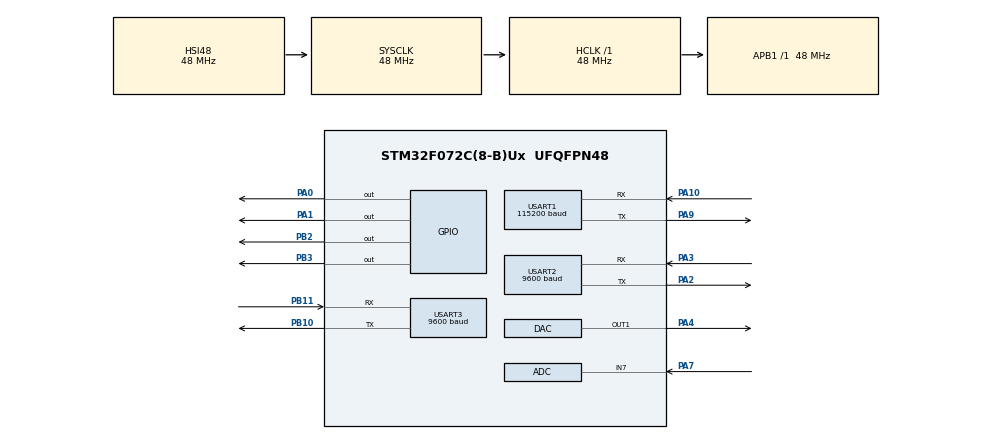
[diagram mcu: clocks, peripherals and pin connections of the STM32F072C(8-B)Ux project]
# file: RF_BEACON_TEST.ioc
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DAC.DAC_Trigger=DAC_TRIGGER_T6_TRGO
Dma.DAC_CH1.0.Direction=DMA_MEMORY_TO_PERIPH
Dma.DAC_CH1.0.Instance=DMA1_Channel3
Dma.DAC_CH1.0.MemDataAlignment=DMA_MDATAALIGN_HALFWORD
Dma.DAC_CH1.0.MemInc=DMA_MINC_ENABLE
Dma.DAC_CH1.0.Mode=DMA_CIRCULAR
Dma.DAC_CH1.0.PeriphDataAlignment=DMA_PDATAALIGN_HALFWORD
Dma.DAC_CH1.0.PeriphInc=DMA_PINC_DISABLE
Dma.DAC_CH1.0.Priority=DMA_PRIORITY_VERY_HIGH
Dma.Request0=DAC_CH1
Mcu.Family=STM32F0
Mcu.Name=STM32F072C(8-B)Ux
Mcu.Package=UFQFPN48
NVIC.DMA1_Channel2_3_IRQn=true\:0\:0\:false\:false\:true\:false\:true\:true
PA0.Signal=GPIO_Output
PA1.Signal=GPIO_Output
PA10.Mode=Asynchronous
PA10.Signal=USART1_RX
PA2.Mode=Asynchronous
PA2.Signal=USART2_TX
PA3.Mode=Asynchronous
PA3.Signal=USART2_RX
PA4.Signal=COMP_DAC1_group
PA7.Mode=IN7
PA7.Signal=ADC_IN7
PA9.Mode=Asynchronous
PA9.Signal=USART1_TX
PB10.Mode=Asynchronous
PB10.Signal=USART3_TX
PB11.Mode=Asynchronous
PB11.Signal=USART3_RX
PB2.GPIO_Speed=GPIO_SPEED_FREQ_HIGH
PB2.PinState=GPIO_PIN_SET
PB2.Signal=GPIO_Output
PB3.GPIO_Speed=GPIO_SPEED_FREQ_HIGH
PB3.PinState=GPIO_PIN_SET
PB3.Signal=GPIO_Output
ProjectManager.HeapSize=0x200
ProjectManager.StackSize=0x400
ProjectManager.TargetToolchain=STM32CubeIDE
RCC.AHBFreq_Value=48000000
RCC.APB1Freq_Value=48000000
RCC.APB1TimFreq_Value=48000000
RCC.HCLKFreq_Value=48000000
RCC.SYSCLKFreq_VALUE=48000000
RCC.SYSCLKSource=RCC_SYSCLKSOURCE_HSI48
SH.COMP_DAC1_group.0=DAC_OUT1,DAC_OUT1
TIM6.Period=99
TIM6.Prescaler=24
TIM6.TIM_MasterOutputTrigger=TIM_TRGO_UPDATE
USART1.BaudRate=115200
USART1.VirtualMode-Asynchronous=VM_ASYNC
USART2.BaudRate=9600
USART2.VirtualMode-Asynchronous=VM_ASYNC
USART3.BaudRate=9600
USART3.VirtualMode-Asynchronous=VM_ASYNC
VP_TIM6_VS_ClockSourceINT.Mode=Enable_Timer
board=custom

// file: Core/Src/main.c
/* USER CODE BEGIN Header */
/**
  ******************************************************************************
  * @file           : main.c
  * @brief          : Main program body
  ******************************************************************************
  * @attention
  *
  * Copyright (c) 2026 STMicroelectronics.
  * All rights reserved.
  *
  * This software is licensed under terms that can be found in the LICENSE file
  * in the root directory of this software component.
  * If no LICENSE file comes with this software, it is provided AS-IS.
  *
  ******************************************************************************
  */
/* USER CODE END Header */
#include "main.h"

/* USER CODE BEGIN Includes */
#include "aprs_bits.h"
#include <gps.h>
#include <string.h>
#include <stdio.h>
/* USER CODE END Includes */

/* USER CODE BEGIN PD */

#define SAMPLE_RATE       19200
#define BAUD              1200
#define SAMPLES_PER_BIT   (SAMPLE_RATE / BAUD)   /* = 16, exact integer */

#define MAX_BITS          1000
#define AUDIO_BUFFER_SIZE 512

#define DAC_MID           2048
#define DAC_AMPLITUDE     1800

/*
 * 32-bit phase accumulator increments.
 * Formula: inc = freq / Fs * 2^32
 *
 * MARK  (1200 Hz): 1200 / 19200 * 2^32 = 268435456
 * SPACE (2200 Hz): 2200 / 19200 * 2^32 = 491520000
 *
 * Verify: 268435456 / 2^32 * 19200 = 1200.000 Hz  ✓
 *         491520000 / 2^32 * 19200 = 2200.000 Hz  ✓
 */
#define PHASE_INC_MARK    268435456UL
#define PHASE_INC_SPACE   491520000UL

/* USER CODE END PD */

ADC_HandleTypeDef hadc;

DAC_HandleTypeDef hdac;
DMA_HandleTypeDef hdma_dac_ch1;

TIM_HandleTypeDef htim6;

UART_HandleTypeDef huart1;
UART_HandleTypeDef huart2;
UART_HandleTypeDef huart3;

/* USER CODE BEGIN PV */

static const uint16_t SINE_LUT[256] = {
    2048, 2092, 2136, 2180, 2224, 2268, 2312, 2356,
    2399, 2442, 2485, 2528, 2571, 2613, 2654, 2696,
    2737, 2777, 2818, 2857, 2897, 2935, 2973, 3011,
    3048, 3084, 3120, 3155, 3190, 3224, 3257, 3289,
    3321, 3352, 3382, 3411, 3439, 3467, 3494, 3520,
    3545, 3569, 3592, 3614, 3635, 3656, 3675, 3694,
    3711, 3727, 3743, 3757, 3770, 3783, 3794, 3804,
    3813, 3821, 3829, 3834, 3839, 3843, 3846, 3847,
    3848, 3847, 3846, 3843, 3839, 3834, 3829, 3821,
    3813, 3804, 3794, 3783, 3770, 3757, 3743, 3727,
    3711, 3694, 3675, 3656, 3635, 3614, 3592, 3569,
    3545, 3520, 3494, 3467, 3439, 3411, 3382, 3352,
    3321, 3289, 3257, 3224, 3190, 3155, 3120, 3084,
    3048, 3011, 2973, 2935, 2897, 2857, 2818, 2777,
    2737, 2696, 2654, 2613, 2571, 2528, 2485, 2442,
    2399, 2356, 2312, 2268, 2224, 2180, 2136, 2092,
    2048, 2004, 1960, 1916, 1872, 1828, 1784, 1740,
    1697, 1654, 1611, 1568, 1525, 1483, 1442, 1400,
    1359, 1319, 1278, 1239, 1199, 1161, 1123, 1085,
    1048, 1012,  976,  941,  906,  872,  839,  807,
     775,  744,  714,  685,  657,  629,  602,  576,
     551,  527,  504,  482,  461,  440,  421,  402,
     385,  369,  353,  339,  326,  313,  302,  292,
     283,  275,  267,  262,  257,  253,  250,  249,
     248,  249,  250,  253,  257,  262,  267,  275,
     283,  292,  302,  313,  326,  339,  353,  369,
     385,  402,  421,  440,  461,  482,  504,  527,
     551,  576,  602,  629,  657,  685,  714,  744,
     775,  807,  839,  872,  906,  941,  976, 1012,
    1048, 1085, 1123, 1161, 1199, 1239, 1278, 1319,
    1359, 1400, 1442, 1483, 1525, 1568, 1611, 1654,
    1697, 1740, 1784, 1828, 1872, 1916, 1960, 2004,
};

uint8_t aprsFreq[] = "AT+DMOSETGROUP=0,144.3900,144.3900,0000,1,0000\r\n";
uint8_t mainFreq[] = "AT+DMOSETGROUP=0,147.4500,147.4500,0000,1,0000\r\n";
uint8_t filterConfig[] = "AT+SETFILTER=0,0,0\r\n";

uint8_t  bitstream[MAX_BITS];
size_t   bit_len = 0;

uint16_t audio_buffer[AUDIO_BUFFER_SIZE];

/* TX state — written in ISR, read in main: must be volatile */
volatile int tx_done   = 0;
volatile int tx_active = 0;

/* USER CODE END PV */

void SystemClock_Config(void);
static void MX_GPIO_Init(void);
static void MX_DMA_Init(void);
static void MX_DAC_Init(void);
static void MX_USART1_UART_Init(void);
static void MX_TIM6_Init(void);
static void MX_ADC_Init(void);
static void MX_USART2_UART_Init(void);
static void MX_USART3_UART_Init(void);

/* USER CODE BEGIN 0 */

void setPowerLow(void)
{
    GPIO_InitTypeDef GPIO_InitStruct = {0};

    GPIO_InitStruct.Pin = GPIO_PIN_1;
    GPIO_InitStruct.Mode = GPIO_MODE_OUTPUT_PP;
    GPIO_InitStruct.Pull = GPIO_NOPULL;
    HAL_GPIO_Init(GPIOA, &GPIO_InitStruct);

    HAL_GPIO_WritePin(GPIOA, GPIO_PIN_1, GPIO_PIN_RESET); // LOW = 0.5W
}

void setPowerHigh(void)
{
    GPIO_InitTypeDef GPIO_InitStruct = {0};

    GPIO_InitStruct.Pin = GPIO_PIN_1;
    GPIO_InitStruct.Mode = GPIO_MODE_INPUT;   // FLOAT
    GPIO_InitStruct.Pull = GPIO_NOPULL;
    HAL_GPIO_Init(GPIOA, &GPIO_InitStruct);
}

void setRadio(UART_HandleTypeDef *huart, uint8_t *cmd)
{
    HAL_UART_Transmit(huart, cmd, strlen((char *)cmd), 1000);
    HAL_Delay(200); // give radio time to switch
}

void gps_to_aprs_position(int32_t lat, int32_t lon, char *out)
{
    char lat_hemi = (lat >= 0) ? 'N' : 'S';
    char lon_hemi = (lon >= 0) ? 'E' : 'W';

    if (lat < 0) lat = -lat;
    if (lon < 0) lon = -lon;

    int32_t lat_deg = lat / 10000000;
    int32_t lon_deg = lon / 10000000;

    int32_t lat_rem = lat % 10000000;
    int32_t lon_rem = lon % 10000000;

    // FIX: use int64_t to prevent overflow
    int32_t lat_min = (int32_t)(((int64_t)lat_rem * 60 * 100) / 10000000);
    int32_t lon_min = (int32_t)(((int64_t)lon_rem * 60 * 100) / 10000000);

    int lat_min_int = lat_min / 100;
    int lat_min_dec = lat_min % 100;

    int lon_min_int = lon_min / 100;
    int lon_min_dec = lon_min % 100;

    sprintf(out,
        "!%02ld%02d.%02d%c/%03ld%02d.%02d%c",
        lat_deg, lat_min_int, lat_min_dec, lat_hemi,
        lon_deg, lon_min_int, lon_min_dec, lon_hemi
    );
    char temp[30];
    char temp2[30];
    char temp3[30];
    strcat(out, "-9 ");
    sprintf(temp, "%ld", gps_height);
    strcat(out, temp);
    strcat(out, ",");
    sprintf(temp2, "%ld", gps_maxAlt);
    strcat(out,temp2);
    strcat(out, ",");
    sprintf(temp3, "%u", numSat);
    strcat(out,temp3);
    strcat(out, ",");
    sprintf(temp3, "%u", mins);
    strcat(out,temp3);

}
/* =========================================================
 * Bit collector — called by aprs_sendPacket()
 * ========================================================= */
void collectBit(uint8_t bit)
{
    if (bit_len < MAX_BITS) {
        bitstream[bit_len++] = bit;
    }
}

/* =========================================================
 * AFSK modem state
 * Uses a 32-bit phase accumulator + 256-entry LUT.
 * No floating point — safe to call from ISR on Cortex-M0.
 * ========================================================= */
typedef struct {
    uint8_t  *bits;
    size_t    bit_len;
    uint32_t  phase;         /* 32-bit accumulator, full 0..2^32 range */
    uint32_t  sample_index;  /* counts samples since TX start */
} afsk_state_t;

static afsk_state_t afsk;

static void afsk_init(uint8_t *bits, size_t len)
{
    afsk.bits         = bits;
    afsk.bit_len      = len;
    afsk.phase        = 0;
    afsk.sample_index = 0;
}

static uint16_t afsk_next_sample(void)
{
    if (tx_done) {
        return DAC_MID;
    }

    /* SAMPLES_PER_BIT = 16 (exact), so integer division is perfect */
    uint32_t bit_index = afsk.sample_index / SAMPLES_PER_BIT;

    if (bit_index >= afsk.bit_len) {
        tx_done = 1;
        return DAC_MID;
    }

    uint32_t phase_inc = afsk.bits[bit_index] ? PHASE_INC_MARK : PHASE_INC_SPACE;

    /* Advance phase — naturally wraps at 2^32, no branch needed */
    afsk.phase += phase_inc;

    /* Top 8 bits index into the 256-entry LUT */
    uint16_t sample = SINE_LUT[afsk.phase >> 24];

    afsk.sample_index++;

    return sample;
}

/* =========================================================
 * Buffer fill — called from DMA callbacks (ISR context)
 * ========================================================= */
static void fill_buffer(uint16_t *buf, size_t len)
{
    if (tx_done) {
        for (size_t i = 0; i < len; i++) {
            buf[i] = DAC_MID;
        }
    } else {
        for (size_t i = 0; i < len; i++) {
            buf[i] = afsk_next_sample();
        }
    }
}

/* =========================================================
 * DMA half-complete: refill first half of buffer
 * ========================================================= */
void HAL_DAC_ConvHalfCpltCallbackCh1(DAC_HandleTypeDef *hdac_cb)
{
    fill_buffer(audio_buffer, AUDIO_BUFFER_SIZE / 2);
}

/* =========================================================
 * DMA complete: refill second half, handle shutdown
 * ========================================================= */
void HAL_DAC_ConvCpltCallbackCh1(DAC_HandleTypeDef *hdac_cb)
{
    /* Always refill second half first so DMA never starves */
    fill_buffer(&audio_buffer[AUDIO_BUFFER_SIZE / 2], AUDIO_BUFFER_SIZE / 2);

    /* Once tx_done and we've drained enough silent buffers, stop */
    if (tx_done && tx_active) {
        static int drain_cycles = 0;
        if (++drain_cycles > 2) {
            HAL_DAC_Stop_DMA(hdac_cb, DAC_CHANNEL_1);
            HAL_TIM_Base_Stop(&htim6);
            tx_active    = 0;
            drain_cycles = 0;
            /* De-assert PTT */
            HAL_GPIO_WritePin(GPIOA, GPIO_PIN_0, GPIO_PIN_RESET);
        }
    }
}

void transmit_packet(void)
{
    afsk_init(bitstream, bit_len);

    tx_done   = 0;
    tx_active = 1;

    HAL_GPIO_WritePin(GPIOA, GPIO_PIN_0, GPIO_PIN_SET);

    fill_buffer(audio_buffer, AUDIO_BUFFER_SIZE);

    HAL_Delay(250);

    HAL_TIM_Base_Start(&htim6);
    HAL_DAC_Start_DMA(
        &hdac,
        DAC_CHANNEL_1,
        (uint32_t *)audio_buffer,
        AUDIO_BUFFER_SIZE,
        DAC_ALIGN_12B_R
    );

    while (tx_active) { }

    HAL_GPIO_WritePin(GPIOA, GPIO_PIN_0, GPIO_PIN_RESET);
}

/* USER CODE END 0 */

int main(void)
{

  /* MCU Configuration--------------------------------------------------------*/

  /* Reset of all peripherals, Initializes the Flash interface and the Systick. */
  HAL_Init();

  /* Configure the system clock */
  SystemClock_Config();

  /* Initialize all configured peripherals */
  MX_GPIO_Init();
  MX_DMA_Init();
  MX_DAC_Init();
  MX_USART1_UART_Init();
  MX_TIM6_Init();
  MX_ADC_Init();
  MX_USART2_UART_Init();
  MX_USART3_UART_Init();
  /* USER CODE BEGIN 2 */
    HAL_UART_Transmit(&huart2, mainFreq, strlen((char *)mainFreq), 1000);
    HAL_Delay(1000);
    HAL_UART_Transmit(&huart2, filterConfig, strlen((char *)filterConfig), 1000);
    HAL_Delay(1000);

    uint32_t lastAprs = 0;
    uint32_t lastSecondary = 0;

    typedef enum {
        FREQ_MAIN,
        FREQ_APRS
    } radio_freq_t;

    radio_freq_t currentFreq = FREQ_MAIN;

    GPS_Begin(&huart3);

  /* USER CODE END 2 */

  /* Infinite loop */
  /* USER CODE BEGIN WHILE */

    while (1)
    {
        uint32_t now = HAL_GetTick();

        // Always keep GPS updated
        GPS_Update(&huart3);

        // =========================
        // === APRS (PRIORITY) ===
        // =========================
        if (now - lastAprs >= 60000)
        {
        	while (tx_active) {
        	    // wait or yield
        	}
            lastAprs = now;

            // --- Build packet (STEP 1 goes HERE) ---
            char msg[30];
            gps_to_aprs_position(gps_lat, gps_lon, msg);

            bit_len = 0;
            aprs_sendPacket(
                "KR4GAM",
                "APRS",
                "WIDE1-1,WIDE2-1",
                msg,
                collectBit
            );

            // --- Switch to APRS freq if needed ---
            if (currentFreq != FREQ_APRS) {
            	setPowerHigh();
                setRadio(&huart2, aprsFreq);
                currentFreq = FREQ_APRS;
                HAL_Delay(300);
            }

            // --- Transmit ---
            transmit_packet();
            while (tx_active) {}

            // NEW — let radio fully settle
            HAL_Delay(150);   // try 150–300 ms
            HAL_GPIO_WritePin(GPIOA, GPIO_PIN_0, GPIO_PIN_RESET);

            HAL_Delay(300);   // let RF chain fully shut down before retuning

            // --- Return to main freq ---
            if (currentFreq != FREQ_MAIN) {
            	setPowerLow();
                setRadio(&huart2, mainFreq);
                currentFreq = FREQ_MAIN;
                HAL_Delay(200);
            }

            continue; // skip secondary this loop
        }

        // =========================
        // === SECONDARY (5 sec) ===
        // =========================
        if (now - lastSecondary >= 5000 && now - lastAprs >= 5000)
        {
            lastSecondary = now;
        	while (tx_active) {
        	    // wait or yield
        	}

            // --- Build SAME packet (STEP 1 here too) ---
            char msg[30];

            gps_to_aprs_position(gps_lat, gps_lon, msg);
            HAL_UART_Transmit(&huart1, (uint8_t*)msg, strlen(msg), HAL_MAX_DELAY);

            bit_len = 0;
            aprs_sendPacket(
                "KR4GAM",
                "APRS",
                "WIDE1-1,WIDE2-1",
                msg,
                collectBit
            );

            // --- Ensure we're on main freq ---
            if (currentFreq != FREQ_MAIN) {
            	setPowerLow();
                setRadio(&huart2, mainFreq);
                currentFreq = FREQ_MAIN;
                HAL_Delay(200);
            }

            // --- Transmit ---
            transmit_packet();
            while (tx_active) {}

            // NEW — let radio fully settle
            HAL_Delay(150);   // try 150–300 ms
            HAL_GPIO_WritePin(GPIOA, GPIO_PIN_0, GPIO_PIN_RESET);

            HAL_Delay(300);   // let RF chain fully shut down before retuning
        }

        HAL_Delay(10);
    /* USER CODE END WHILE */

  }
}

void SystemClock_Config(void)
{
  RCC_OscInitTypeDef RCC_OscInitStruct = {0};
  RCC_ClkInitTypeDef RCC_ClkInitStruct = {0};
  RCC_PeriphCLKInitTypeDef PeriphClkInit = {0};

  /** Initializes the RCC Oscillators according to the specified parameters
  * in the RCC_OscInitTypeDef structure.
  */
  RCC_OscInitStruct.OscillatorType = RCC_OSCILLATORTYPE_HSI14|RCC_OSCILLATORTYPE_HSI48;
  RCC_OscInitStruct.HSI48State = RCC_HSI48_ON;
  RCC_OscInitStruct.HSI14State = RCC_HSI14_ON;
  RCC_OscInitStruct.HSI14CalibrationValue = 16;
  RCC_OscInitStruct.PLL.PLLState = RCC_PLL_NONE;
  if (HAL_RCC_OscConfig(&RCC_OscInitStruct) != HAL_OK)
  {
    Error_Handler();
  }

  /** Initializes the CPU, AHB and APB buses clocks
  */
  RCC_ClkInitStruct.ClockType = RCC_CLOCKTYPE_HCLK|RCC_CLOCKTYPE_SYSCLK
                              |RCC_CLOCKTYPE_PCLK1;
  RCC_ClkInitStruct.SYSCLKSource = RCC_SYSCLKSOURCE_HSI48;
  RCC_ClkInitStruct.AHBCLKDivider = RCC_SYSCLK_DIV1;
  RCC_ClkInitStruct.APB1CLKDivider = RCC_HCLK_DIV1;

  if (HAL_RCC_ClockConfig(&RCC_ClkInitStruct, FLASH_LATENCY_1) != HAL_OK)
  {
    Error_Handler();
  }
  PeriphClkInit.PeriphClockSelection = RCC_PERIPHCLK_USART1|RCC_PERIPHCLK_USART2;
  PeriphClkInit.Usart1ClockSelection = RCC_USART1CLKSOURCE_PCLK1;
  PeriphClkInit.Usart2ClockSelection = RCC_USART2CLKSOURCE_PCLK1;
  if (HAL_RCCEx_PeriphCLKConfig(&PeriphClkInit) != HAL_OK)
  {
    Error_Handler();
  }
}

static void MX_ADC_Init(void)
{

  ADC_ChannelConfTypeDef sConfig = {0};

  /** Configure the global features of the ADC (Clock, Resolution, Data Alignment and number of conversion)
  */
  hadc.Instance = ADC1;
  hadc.Init.ClockPrescaler = ADC_CLOCK_ASYNC_DIV1;
  hadc.Init.Resolution = ADC_RESOLUTION_12B;
  hadc.Init.DataAlign = ADC_DATAALIGN_RIGHT;
  hadc.Init.ScanConvMode = ADC_SCAN_DIRECTION_FORWARD;
  hadc.Init.EOCSelection = ADC_EOC_SINGLE_CONV;
  hadc.Init.LowPowerAutoWait = DISABLE;
  hadc.Init.LowPowerAutoPowerOff = DISABLE;
  hadc.Init.ContinuousConvMode = DISABLE;
  hadc.Init.DiscontinuousConvMode = DISABLE;
  hadc.Init.ExternalTrigConv = ADC_SOFTWARE_START;
  hadc.Init.ExternalTrigConvEdge = ADC_EXTERNALTRIGCONVEDGE_NONE;
  hadc.Init.DMAContinuousRequests = DISABLE;
  hadc.Init.Overrun = ADC_OVR_DATA_PRESERVED;
  if (HAL_ADC_Init(&hadc) != HAL_OK)
  {
    Error_Handler();
  }

  /** Configure for the selected ADC regular channel to be converted.
  */
  sConfig.Channel = ADC_CHANNEL_7;
  sConfig.Rank = ADC_RANK_CHANNEL_NUMBER;
  sConfig.SamplingTime = ADC_SAMPLETIME_1CYCLE_5;
  if (HAL_ADC_ConfigChannel(&hadc, &sConfig) != HAL_OK)
  {
    Error_Handler();
  }

}

static void MX_DAC_Init(void)
{

  DAC_ChannelConfTypeDef sConfig = {0};

  /** DAC Initialization
  */
  hdac.Instance = DAC;
  if (HAL_DAC_Init(&hdac) != HAL_OK)
  {
    Error_Handler();
  }

  /** DAC channel OUT1 config
  */
  sConfig.DAC_Trigger = DAC_TRIGGER_T6_TRGO;
  sConfig.DAC_OutputBuffer = DAC_OUTPUTBUFFER_ENABLE;
  if (HAL_DAC_ConfigChannel(&hdac, &sConfig, DAC_CHANNEL_1) != HAL_OK)
  {
    Error_Handler();
  }

}

static void MX_TIM6_Init(void)
{

  TIM_MasterConfigTypeDef sMasterConfig = {0};

  htim6.Instance = TIM6;
  htim6.Init.Prescaler = 24;
  htim6.Init.CounterMode = TIM_COUNTERMODE_UP;
  htim6.Init.Period = 99;
  htim6.Init.AutoReloadPreload = TIM_AUTORELOAD_PRELOAD_DISABLE;
  if (HAL_TIM_Base_Init(&htim6) != HAL_OK)
  {
    Error_Handler();
  }
  sMasterConfig.MasterOutputTrigger = TIM_TRGO_UPDATE;
  sMasterConfig.MasterSlaveMode = TIM_MASTERSLAVEMODE_DISABLE;
  if (HAL_TIMEx_MasterConfigSynchronization(&htim6, &sMasterConfig) != HAL_OK)
  {
    Error_Handler();
  }

}

static void MX_USART1_UART_Init(void)
{

  huart1.Instance = USART1;
  huart1.Init.BaudRate = 115200;
  huart1.Init.WordLength = UART_WORDLENGTH_8B;
  huart1.Init.StopBits = UART_STOPBITS_1;
  huart1.Init.Parity = UART_PARITY_NONE;
  huart1.Init.Mode = UART_MODE_TX_RX;
  huart1.Init.HwFlowCtl = UART_HWCONTROL_NONE;
  huart1.Init.OverSampling = UART_OVERSAMPLING_16;
  huart1.Init.OneBitSampling = UART_ONE_BIT_SAMPLE_DISABLE;
  huart1.AdvancedInit.AdvFeatureInit = UART_ADVFEATURE_NO_INIT;
  if (HAL_UART_Init(&huart1) != HAL_OK)
  {
    Error_Handler();
  }

}

static void MX_USART2_UART_Init(void)
{

  huart2.Instance = USART2;
  huart2.Init.BaudRate = 9600;
  huart2.Init.WordLength = UART_WORDLENGTH_8B;
  huart2.Init.StopBits = UART_STOPBITS_1;
  huart2.Init.Parity = UART_PARITY_NONE;
  huart2.Init.Mode = UART_MODE_TX_RX;
  huart2.Init.HwFlowCtl = UART_HWCONTROL_NONE;
  huart2.Init.OverSampling = UART_OVERSAMPLING_16;
  huart2.Init.OneBitSampling = UART_ONE_BIT_SAMPLE_DISABLE;
  huart2.AdvancedInit.AdvFeatureInit = UART_ADVFEATURE_NO_INIT;
  if (HAL_UART_Init(&huart2) != HAL_OK)
  {
    Error_Handler();
  }

}

static void MX_USART3_UART_Init(void)
{

  huart3.Instance = USART3;
  huart3.Init.BaudRate = 9600;
  huart3.Init.WordLength = UART_WORDLENGTH_8B;
  huart3.Init.StopBits = UART_STOPBITS_1;
  huart3.Init.Parity = UART_PARITY_NONE;
  huart3.Init.Mode = UART_MODE_TX_RX;
  huart3.Init.HwFlowCtl = UART_HWCONTROL_NONE;
  huart3.Init.OverSampling = UART_OVERSAMPLING_16;
  huart3.Init.OneBitSampling = UART_ONE_BIT_SAMPLE_DISABLE;
  huart3.AdvancedInit.AdvFeatureInit = UART_ADVFEATURE_NO_INIT;
  if (HAL_UART_Init(&huart3) != HAL_OK)
  {
    Error_Handler();
  }

}

static void MX_DMA_Init(void)
{

  /* DMA controller clock enable */
  __HAL_RCC_DMA1_CLK_ENABLE();

  /* DMA interrupt init */
  /* DMA1_Channel2_3_IRQn interrupt configuration */
  HAL_NVIC_SetPriority(DMA1_Channel2_3_IRQn, 0, 0);
  HAL_NVIC_EnableIRQ(DMA1_Channel2_3_IRQn);

}

static void MX_GPIO_Init(void)
{
  GPIO_InitTypeDef GPIO_InitStruct = {0};

  /* GPIO Ports Clock Enable */
  __HAL_RCC_GPIOA_CLK_ENABLE();
  __HAL_RCC_GPIOB_CLK_ENABLE();

  /*Configure GPIO pin Output Level */
  HAL_GPIO_WritePin(GPIOA, GPIO_PIN_0|GPIO_PIN_1, GPIO_PIN_RESET);

  /*Configure GPIO pin Output Level */
  HAL_GPIO_WritePin(GPIOB, GPIO_PIN_2|GPIO_PIN_3, GPIO_PIN_RESET);

  /*Configure GPIO pins : PA0 PA1 */
  GPIO_InitStruct.Pin = GPIO_PIN_0|GPIO_PIN_1;
  GPIO_InitStruct.Mode = GPIO_MODE_OUTPUT_PP;
  GPIO_InitStruct.Pull = GPIO_NOPULL;
  GPIO_InitStruct.Speed = GPIO_SPEED_FREQ_LOW;
  HAL_GPIO_Init(GPIOA, &GPIO_InitStruct);

  /*Configure GPIO pins : PB2 PB3 */
  GPIO_InitStruct.Pin = GPIO_PIN_2|GPIO_PIN_3;
  GPIO_InitStruct.Mode = GPIO_MODE_OUTPUT_PP;
  GPIO_InitStruct.Pull = GPIO_NOPULL;
  GPIO_InitStruct.Speed = GPIO_SPEED_FREQ_HIGH;
  HAL_GPIO_Init(GPIOB, &GPIO_InitStruct);

}

void Error_Handler(void)
{
  __disable_irq();
  while (1)
  {
  }
}
